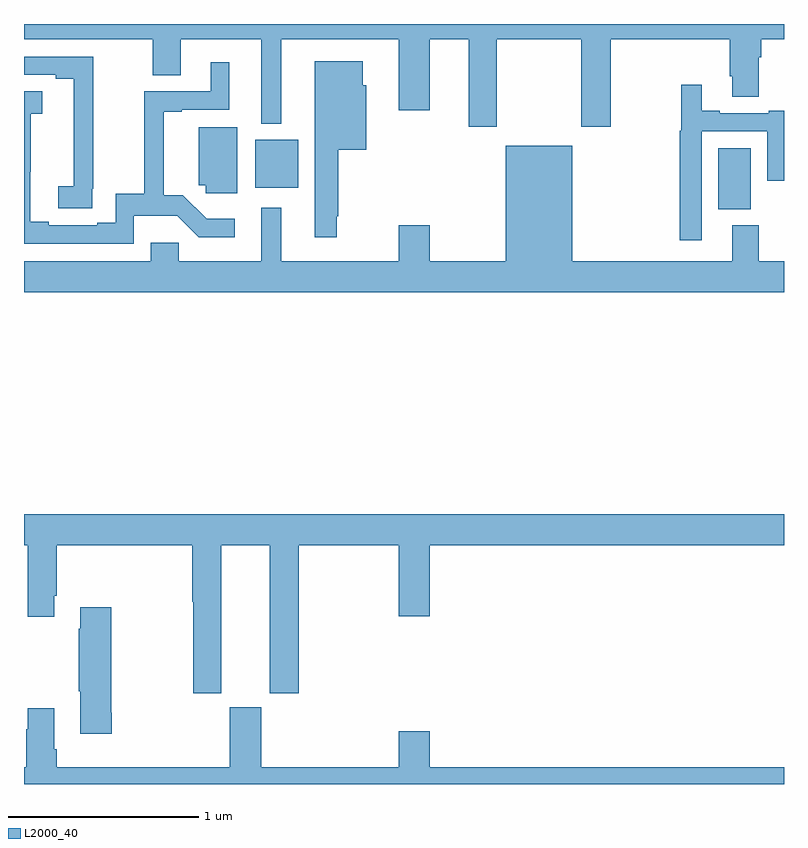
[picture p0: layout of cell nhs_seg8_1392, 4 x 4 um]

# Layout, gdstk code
import gdstk
lib = gdstk.Library(unit=1e-6, precision=1e-09)
def R(c, l, rs):  # rectangles x0, y0, x1, y1
    for r in rs: c.add(gdstk.rectangle(r[:2], r[2:], *l))
def P(c, l, *ps):  # polygons
    for p in ps: c.add(gdstk.Polygon(p, *l))
L2000_40 = (2000, 40)

nhs_seg8_1392 = lib.new_cell('nhs_seg8_1392')
R(nhs_seg8_1392, L2000_40, [(202.655,1128.926,202.825,1129.246), (200.216,1129.037,200.443,1129.291)])
P(nhs_seg8_1392, L2000_40, [(201.489,1129.82),(201.934,1129.82),(201.934,1129.359),(202.089,1129.359),(202.089,1129.82),(202.715,1129.82),(202.715,1129.624),(202.727,1129.624),(202.727,1129.516),(202.867,1129.516),(202.867,1129.724),(202.88,1129.724),(202.88,1129.82),(203,1129.82),(203,1129.9),(199,1129.9),(199,1129.82),(199.678,1129.82),(199.678,1129.63),(199.825,1129.63),(199.825,1129.82),(200.249,1129.82),(200.249,1129.376),(200.353,1129.376),(200.353,1129.82),(200.972,1129.82),(200.972,1129.446),(201.136,1129.446),(201.136,1129.82),(201.341,1129.82),(201.341,1129.359),(201.489,1129.359)],
  [(199.358,1129.033),(199.364,1129.033),(199.364,1129.728),(199,1129.728),(199,1129.632),(199.166,1129.632),(199.166,1129.612),(199.262,1129.612),(199.262,1129.329),(199.261,1129.329),(199.261,1129.046),(199.179,1129.046),(199.179,1128.931),(199.358,1128.931)],
  [(200.645,1128.889),(200.653,1128.889),(200.653,1129.238),(200.8,1129.238),(200.8,1129.578),(200.782,1129.578),(200.782,1129.705),(200.531,1129.705),(200.531,1128.777),(200.645,1128.777)],
  [(199.578,1128.89),(199.807,1128.89),(199.92,1128.777),(200.11,1128.777),(200.11,1128.874),(199.961,1128.874),(199.835,1129),(199.736,1129),(199.736,1129.437),(199.831,1129.437),(199.831,1129.449),(200.08,1129.449),(200.08,1129.699),(199.982,1129.699),(199.982,1129.545),(199.633,1129.545),(199.633,1129.007),(199.482,1129.007),(199.482,1128.854),(199.385,1128.854),(199.385,1128.84),(199.129,1128.84),(199.129,1128.86),(199.033,1128.86),(199.033,1129.123),(199.035,1129.123),(199.035,1129.427),(199.096,1129.427),(199.096,1129.547),(199,1129.547),(199,1128.744),(199.578,1128.744)],
  [(202.566,1129.335),(202.913,1129.335),(202.913,1129.074),(203,1129.074),(203,1129.444),(202.919,1129.444),(202.919,1129.431),(202.663,1129.431),(202.663,1129.444),(202.567,1129.444),(202.567,1129.579),(202.458,1129.579),(202.458,1129.338),(202.45,1129.338),(202.45,1128.762),(202.566,1128.762)],
  [(200.122,1129.357),(199.919,1129.357),(199.919,1129.052),(199.956,1129.052),(199.956,1129.01),(200.122,1129.01)],
  [(200.249,1128.934),(200.249,1128.652),(199.814,1128.652),(199.814,1128.75),(199.667,1128.75),(199.667,1128.652),(199,1128.652),(199,1128.488),(203,1128.488),(203,1128.652),(202.867,1128.652),(202.867,1128.841),(202.727,1128.841),(202.727,1128.652),(201.886,1128.652),(201.886,1129.258),(201.536,1129.258),(201.536,1128.652),(201.136,1128.652),(201.136,1128.841),(200.972,1128.841),(200.972,1128.652),(200.353,1128.652),(200.353,1128.934)],
  [(200.038,1127.156),(200.294,1127.156),(200.294,1126.377),(200.447,1126.377),(200.447,1127.156),(200.972,1127.156),(200.972,1126.782),(201.136,1126.782),(201.136,1127.156),(203,1127.156),(203,1127.32),(199,1127.32),(199,1127.156),(199.019,1127.156),(199.019,1126.779),(199.159,1126.779),(199.159,1126.891),(199.172,1126.891),(199.172,1127.156),(199.886,1127.156),(199.886,1126.86),(199.891,1126.86),(199.891,1126.377),(200.038,1126.377)],
  [(199.463,1126.276),(199.458,1126.276),(199.458,1126.831),(199.295,1126.831),(199.295,1126.718),(199.288,1126.718),(199.288,1126.387),(199.295,1126.387),(199.295,1126.164),(199.463,1126.164)],
  [(203,1125.988),(201.136,1125.988),(201.136,1126.177),(200.972,1126.177),(200.972,1125.988),(200.248,1125.988),(200.248,1126.305),(200.084,1126.305),(200.084,1125.988),(199.172,1125.988),(199.172,1126.084),(199.159,1126.084),(199.159,1126.3),(199.019,1126.3),(199.019,1126.187),(199.012,1126.187),(199.012,1125.988),(199,1125.988),(199,1125.9),(203,1125.9)])

lib.write_gds('nhs_seg8_1392.gds')
